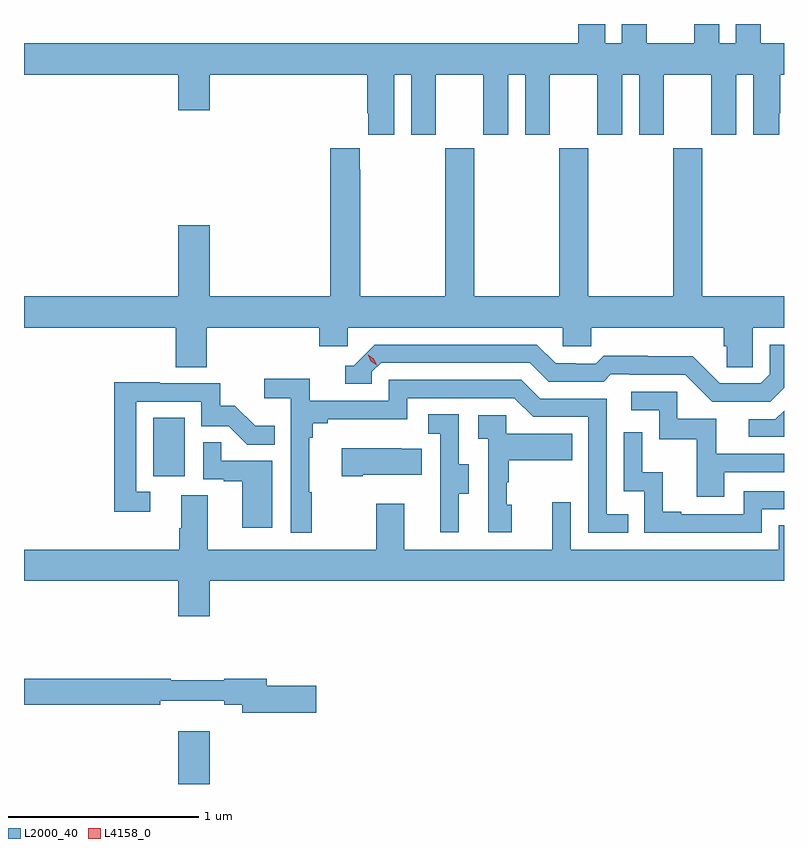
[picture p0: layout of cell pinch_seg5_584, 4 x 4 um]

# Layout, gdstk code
import gdstk
lib = gdstk.Library(unit=1e-6, precision=1e-09)
def R(c, l, rs):  # rectangles x0, y0, x1, y1
    for r in rs: c.add(gdstk.rectangle(r[:2], r[2:], *l))
def P(c, l, *ps):  # polygons
    for p in ps: c.add(gdstk.Polygon(p, *l))
L2000_40 = (2000, 40)
L4158_0 = (4158, 0)

pinch_seg5_584 = lib.new_cell('pinch_seg5_584')
R(pinch_seg5_584, L2000_40, [(1142.03,858.354,1142.194,858.631), (1141.898,859.974,1142.062,860.281)])
P(pinch_seg5_584, L2000_40, [(1143.166,862.088),(1143.254,862.088),(1143.254,861.771),(1143.385,861.771),(1143.385,862.088),(1143.635,862.088),(1143.635,861.771),(1143.766,861.771),(1143.766,862.088),(1143.854,862.088),(1143.854,861.771),(1143.985,861.771),(1143.985,862.088),(1144.235,862.088),(1144.235,861.771),(1144.366,861.771),(1144.366,862.088),(1144.454,862.088),(1144.454,861.771),(1144.585,861.771),(1144.585,862.088),(1144.835,862.088),(1144.835,861.771),(1144.966,861.771),(1144.966,862.088),(1145.054,862.088),(1145.054,861.771),(1145.191,861.771),(1145.191,861.883),(1145.198,861.883),(1145.198,862.088),(1145.217,862.088),(1145.217,862.252),(1145.095,862.252),(1145.095,862.354),(1144.964,862.354),(1144.964,862.252),(1144.876,862.252),(1144.876,862.354),(1144.745,862.354),(1144.745,862.252),(1144.495,862.252),(1144.495,862.354),(1144.364,862.354),(1144.364,862.252),(1144.276,862.252),(1144.276,862.354),(1144.133,862.354),(1144.133,862.252),(1141.217,862.252),(1141.217,862.088),(1142.03,862.088),(1142.03,861.9),(1142.194,861.9),(1142.194,862.088),(1143.023,862.088),(1143.023,861.883),(1143.029,861.883),(1143.029,861.771),(1143.166,861.771)],
  [(1142.18,860.756),(1142.771,860.756),(1142.771,860.658),(1142.922,860.658),(1142.922,860.756),(1144.053,860.756),(1144.053,860.658),(1144.203,860.658),(1144.203,860.756),(1144.901,860.756),(1144.901,860.658),(1144.915,860.658),(1144.915,860.548),(1145.052,860.548),(1145.052,860.756),(1145.217,860.756),(1145.217,860.92),(1144.788,860.92),(1144.788,861.7),(1144.633,861.7),(1144.633,860.92),(1144.188,860.92),(1144.188,861.7),(1144.033,861.7),(1144.033,860.92),(1143.588,860.92),(1143.588,861.7),(1143.433,861.7),(1143.433,860.92),(1142.988,860.92),(1142.988,861.587),(1142.983,861.587),(1142.983,861.7),(1142.828,861.7),(1142.828,860.92),(1142.194,860.92),(1142.194,861.295),(1142.03,861.295),(1142.03,860.92),(1141.217,860.92),(1141.217,860.756),(1142.015,860.756),(1142.015,860.548),(1142.18,860.548)],
  [(1145.217,860.439),(1145.217,860.667),(1145.142,860.667),(1145.142,860.511),(1145.094,860.463),(1144.878,860.463),(1144.736,860.605),(1144.5,860.605),(1144.5,860.608),(1144.267,860.608),(1144.225,860.565),(1144.122,860.565),(1144.122,860.568),(1144.015,860.568),(1143.916,860.667),(1143.063,860.667),(1142.952,860.556),(1142.909,860.556),(1142.909,860.46),(1143.048,860.46),(1143.048,860.523),(1143.096,860.571),(1143.879,860.571),(1143.978,860.472),(1144.267,860.472),(1144.306,860.511),(1144.405,860.511),(1144.405,860.508),(1144.698,860.508),(1144.839,860.367),(1145.145,860.367)],
  [(1142.731,859.889),(1142.719,859.889),(1142.719,860.177),(1142.738,860.177),(1142.738,860.254),(1142.815,860.254),(1142.815,860.273),(1143.234,860.273),(1143.234,860.385),(1143.798,860.385),(1143.897,860.286),(1144.188,860.286),(1144.188,859.677),(1144.397,859.677),(1144.397,859.773),(1144.284,859.773),(1144.284,860.382),(1143.934,860.382),(1143.835,860.481),(1143.138,860.481),(1143.138,860.37),(1142.72,860.37),(1142.72,860.486),(1142.481,860.486),(1142.481,860.384),(1142.622,860.384),(1142.622,859.677),(1142.731,859.677)],
  [(1141.882,859.893),(1141.809,859.893),(1141.809,860.367),(1142.151,860.367),(1142.151,860.238),(1142.295,860.238),(1142.393,860.14),(1142.537,860.14),(1142.537,860.239),(1142.433,860.239),(1142.326,860.346),(1142.25,860.346),(1142.25,860.463),(1141.931,860.463),(1141.931,860.468),(1141.693,860.468),(1141.693,859.788),(1141.882,859.788)],
  [(1144.903,859.995),(1145.217,859.995),(1145.217,860.091),(1144.861,860.091),(1144.861,860.277),(1144.656,860.277),(1144.656,860.418),(1144.413,860.418),(1144.413,860.322),(1144.56,860.322),(1144.56,860.169),(1144.759,860.169),(1144.759,859.866),(1144.903,859.866)],
  [(1145.217,860.319),(1145.172,860.274),(1145.031,860.274),(1145.031,860.181),(1145.217,860.181)],
  [(1143.505,859.882),(1143.559,859.882),(1143.559,860.037),(1143.504,860.037),(1143.504,860.3),(1143.345,860.3),(1143.345,860.197),(1143.408,860.197),(1143.408,859.893),(1143.407,859.893),(1143.407,859.68),(1143.505,859.68)],
  [(1143.784,859.824),(1143.759,859.824),(1143.759,859.943),(1143.769,859.943),(1143.769,860.057),(1144.103,860.057),(1144.103,860.197),(1143.756,860.197),(1143.756,860.295),(1143.609,860.295),(1143.609,860.171),(1143.66,860.171),(1143.66,859.68),(1143.784,859.68)],
  [(1145.1,859.8),(1145.217,859.8),(1145.217,859.896),(1145.004,859.896),(1145.004,859.773),(1144.675,859.773),(1144.675,859.786),(1144.58,859.786),(1144.58,859.994),(1144.47,859.994),(1144.47,860.206),(1144.374,860.206),(1144.374,859.896),(1144.482,859.896),(1144.482,859.677),(1145.1,859.677)],
  [(1142.524,860.055),(1142.255,860.055),(1142.255,860.153),(1142.16,860.153),(1142.16,859.959),(1142.267,859.959),(1142.267,859.947),(1142.366,859.947),(1142.366,859.704),(1142.524,859.704)],
  [(1143.001,859.982),(1143.311,859.982),(1143.311,860.119),(1143.203,860.119),(1143.203,860.122),(1142.889,860.122),(1142.889,859.975),(1143.001,859.975)],
  [(1142.194,859.424),(1145.217,859.424),(1145.217,859.715),(1145.19,859.715),(1145.19,859.588),(1144.095,859.588),(1144.095,859.837),(1143.998,859.837),(1143.998,859.588),(1143.217,859.588),(1143.217,859.828),(1143.07,859.828),(1143.07,859.588),(1142.185,859.588),(1142.185,859.874),(1142.045,859.874),(1142.045,859.7),(1142.033,859.7),(1142.033,859.588),(1141.217,859.588),(1141.217,859.424),(1142.03,859.424),(1142.03,859.236),(1142.194,859.236)],
  [(1142.755,858.872),(1142.494,858.872),(1142.494,858.908),(1142.27,858.908),(1142.27,858.901),(1141.99,858.901),(1141.99,858.908),(1141.217,858.908),(1141.217,858.772),(1141.934,858.772),(1141.934,858.791),(1142.27,858.791),(1142.27,858.772),(1142.366,858.772),(1142.366,858.73),(1142.755,858.73)])
P(pinch_seg5_584, L4158_0, [(1143.074,860.559),(1143.043,860.579),(1143.028,860.611),(1143.028,860.612),(1143.028,860.612),(1143.058,860.592),(1143.074,860.559),(1143.074,860.559)])

lib.write_gds('pinch_seg5_584.gds')
